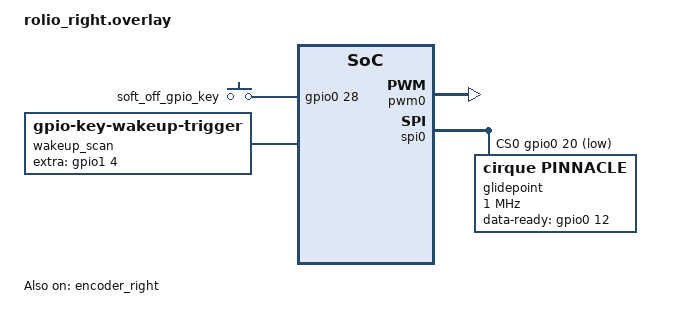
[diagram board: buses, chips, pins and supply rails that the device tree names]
/*
 * Rolio right half — split peripheral, Cirque Pinnacle trackpad, roller.
 *
 * Columns mirror the left half: listed inner -> outer pinky, with col-offset
 * placing them at global columns 7-13.
 *
 * NOTE: unverified against hardware. The left half's wiring turned out to
 * match branch `main` rather than choc2-revision*, so these are `main`'s
 * right-half pins; expect to re-run the supermatrix diagnostic on this half.
 *
 * SPDX-License-Identifier: MIT
 */

#include "rolio.dtsi"

/************************************************/
/*           Key Matrix configuration           */
/************************************************/
&default_transform {
    col-offset = <7>;
};

&kscan0 {
    col-gpios
        = <&gpio0 9 GPIO_ACTIVE_HIGH>   // COL0 -> global 7: roller click + wide thumb
        , <&gpio1 4 GPIO_ACTIVE_HIGH>   // COL1 -> global 8: index
        , <&gpio0 5 GPIO_ACTIVE_HIGH>   // COL2 -> global 9
        , <&gpio1 9 GPIO_ACTIVE_HIGH>   // COL3 -> global 10
        , <&gpio0 4 GPIO_ACTIVE_HIGH>   // COL4 -> global 11
        , <&gpio0 7 GPIO_ACTIVE_HIGH>   // COL5 -> global 12
        , <&gpio1 2 GPIO_ACTIVE_HIGH>   // COL6 -> global 13: outer pinky
        ;
};

&encoder_right {
    status = "okay";
};

/************************************************/
/*        Underglow power configuration         */
/************************************************/
&pwm0 {
    status = "okay";
    pinctrl-0 = <&pwm0_default>;
    pinctrl-1 = <&pwm0_sleep>;
    pinctrl-names = "default", "sleep";
};

/************************************************/
/*            Trackpad configuration            */
/************************************************/
/*
 * The vendor tree uses petejohanson's out-of-tree cirque-input-module, whose
 * binding spells the data-ready pin `dr-gpios` and takes a boolean `sleep`.
 * Zephyr 4.1 ships its own `cirque,pinnacle` SPI driver, so this uses the
 * in-tree property names: `data-ready-gpios` and `sleep-mode-enable`.
 */
&spi0 {
    compatible = "nordic,nrf-spim";
    status = "okay";
    pinctrl-0 = <&spi0_default>;
    pinctrl-1 = <&spi0_sleep>;
    pinctrl-names = "default", "sleep";
    cs-gpios = <&gpio0 20 GPIO_ACTIVE_LOW>;

    glidepoint: glidepoint@0 {
        compatible = "cirque,pinnacle";
        reg = <0>;
        spi-max-frequency = <1000000>;
        status = "okay";
        data-ready-gpios = <&gpio0 12 (GPIO_ACTIVE_HIGH | GPIO_PULL_DOWN)>;
        sensitivity = "2x";
        data-mode = "relative";
        primary-tap-enable;
    };
};

&glidepoint_split {
    device = <&glidepoint>;
};

/************************************************/
/*            Soft off configuration            */
/************************************************/
/ {
    keys {
        compatible = "gpio-keys";
        soft_off_gpio_key: soft_off_gpio_key {
            gpios = <&gpio0 28 (GPIO_ACTIVE_HIGH | GPIO_PULL_DOWN)>; // ROW3
        };
    };
    wakeup_scan: wakeup_scan {
        compatible = "zmk,gpio-key-wakeup-trigger";
        trigger = <&soft_off_gpio_key>;
        wakeup-source;
        extra-gpios = <&gpio1 4 GPIO_ACTIVE_HIGH>; // COL1
    };
    soft_off_wakers {
        compatible = "zmk,soft-off-wakeup-sources";
        wakeup-sources = <&wakeup_scan>;
    };
};
